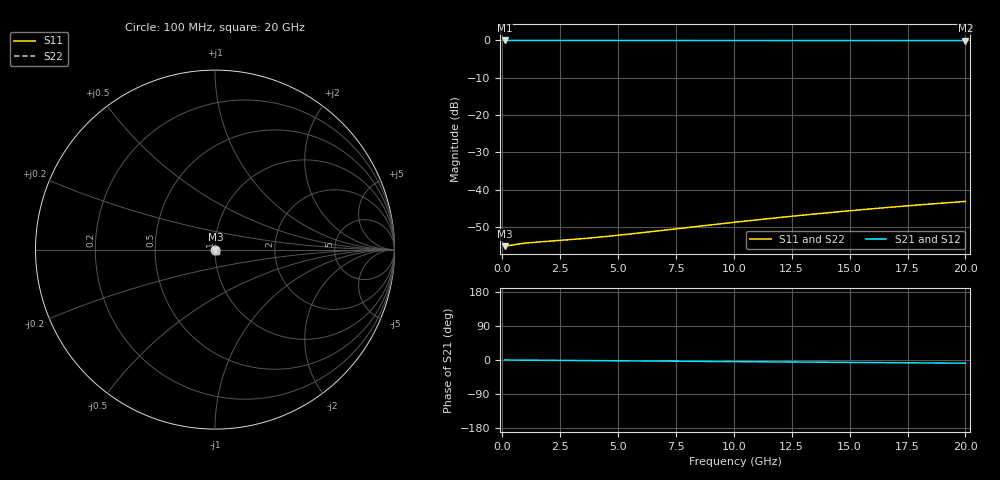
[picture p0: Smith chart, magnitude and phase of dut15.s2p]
! Touchstone file exported from HFSS 2026.1.0
!  File:  C:/ffzhzh/LocalFiles/Ansys_Project_Files/temp_test_TSV_15_1782978300_45568.aedt
!  Generated:  03:47:03 PM Jul  2, 2026
!  Design:  TSV
!  Project:  temp_test_TSV_15_1782978300_45568
! Variables:
!  h_bsmrdl = 2um
!  h_ox = 20um
!  h_rdl = 5um
!  h_sub = 92.92um
!  h_tmrdl = 5um
!  h_tsv = 92.92um
!  h_via = 3um
!  l_bsmrdl = 300um
!  l_sub = 404.94um
!  l_tmrdl = 200um
!  m_sub = 200um
!  pitch = 9.79um
!  r_tsv = 2.47um
!  s_tmrdl = 10um
!  w_bsmrdl = 18um
!  w_sub = 500um
!  w_tmrdl = 12um
!  x_tsv_center1 = 206um
!  x_tsv_center2 = 524um
!  x_tsv_center3 = 736um
!  x_tsv_center4 = 1054um
!  x_tsv_center5 = 1266um
!  x_tsv_center6 = 1584um
# GHz S MA R 50.000000
! Terminal data exported
! Port[1] = TSV1_1_T1
! Port[2] = TSV1_1_T2
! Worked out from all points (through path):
!   200 points, 100 MHz to 20 GHz, reference 50 ohm
!   highest |S21| = -0.02 dB at 100 MHz (marker M1); lowest = 0.0 dB at 20 GHz (marker M2)
!   group delay of S21, straight-line fit = 1.16 ps
!   lowest |S11| = -55.1 dB at 100 MHz (marker M3), VSWR 1.00, Z = 50.2 + j0.00268 ohm
!   |S11| at or under -10 dB: start of sweep to end of sweep
!   |S22| runs from -55.1 to -43.1 dB; largest |S21 - S12| = 3.1e-15
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0.1  0.001752 0.9  0.9982 -0.0  0.9982 -0.0  0.001752 0.9
! Gamma 0 0 0 0
! Port Impedance 50 0 50 0
0.2  0.001766 1.6  0.9982 -0.1  0.9982 -0.1  0.001766 1.6
0.5  0.001834 2.4  0.9982 -0.2  0.9982 -0.2  0.001834 2.4
0.7  0.001877 2.1  0.9981 -0.3  0.9981 -0.3  0.001877 2.1
0.9  0.001912 1.6  0.9981 -0.4  0.9981 -0.4  0.001912 1.6
1.1  0.00194 0.9  0.9981 -0.5  0.9981 -0.5  0.00194 0.9
1.5  0.001985 -0.5  0.998 -0.6  0.998 -0.6  0.001985 -0.5
2.7  0.00211 -4.2  0.9979 -1.2  0.9979 -1.2  0.00211 -4.2
3.5  0.002212 -6.5  0.9978 -1.5  0.9978 -1.5  0.002212 -6.5
4.2  0.002316 -8.6  0.9977 -1.8  0.9977 -1.8  0.002316 -8.6
4.9  0.002435 -10.7  0.9976 -2.1  0.9976 -2.1  0.002435 -10.7
5.7  0.002588 -13.1  0.9975 -2.4  0.9975 -2.4  0.002587 -13.1
6.8  0.002824 -16.5  0.9973 -2.9  0.9973 -2.9  0.002824 -16.5
8.9  0.003348 -23.1  0.9968 -3.8  0.9968 -3.8  0.003348 -23.1
10.1  0.003682 -26.7  0.9966 -4.3  0.9966 -4.3  0.003682 -26.7
11.8  0.00419 -31.7  0.9962 -5.0  0.9962 -5.0  0.004189 -31.7
13.4  0.004696 -36.0  0.9959 -5.7  0.9959 -5.7  0.004695 -36.0
15  0.005223 -40.0  0.9956 -6.3  0.9956 -6.3  0.005223 -40.1
15.8  0.005494 -42.0  0.9955 -6.6  0.9955 -6.6  0.005493 -42.0
16.7  0.005802 -44.0  0.9953 -7.0  0.9953 -7.0  0.005802 -44.0
18.3  0.006361 -47.4  0.9951 -7.7  0.9951 -7.7  0.006361 -47.4
20  0.006966 -50.8  0.9948 -8.4  0.9948 -8.4  0.006966 -50.8
